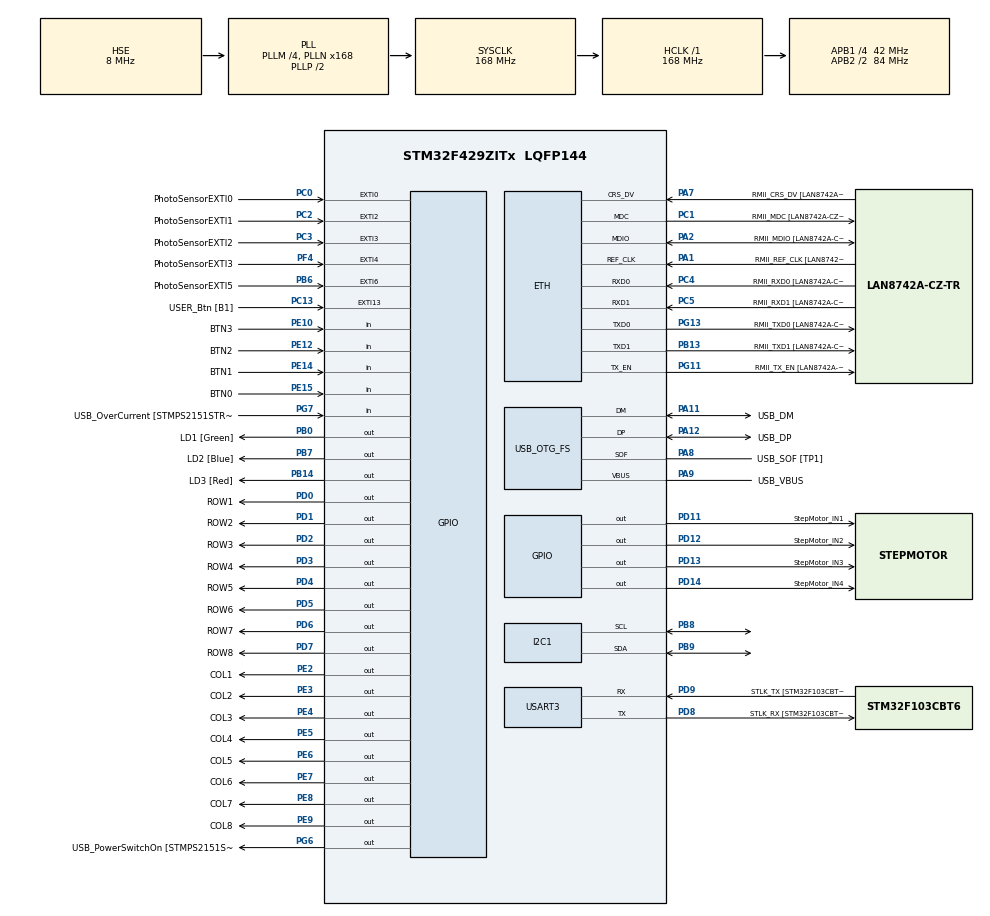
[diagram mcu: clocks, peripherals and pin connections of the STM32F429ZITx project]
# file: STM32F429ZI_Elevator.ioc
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ETH.MediaInterface=HAL_ETH_RMII_MODE
ETH.PHY_Name=LAN8742A_PHY_ADDRESS
ETH.PHY_Value=0
ETH.PhyAddress=0
Mcu.Family=STM32F4
Mcu.Name=STM32F429ZITx
Mcu.Package=LQFP144
NVIC.EXTI0_IRQn=true\:0\:0\:false\:false\:true\:true\:true\:true
NVIC.EXTI2_IRQn=true\:0\:0\:false\:false\:true\:true\:true\:true
NVIC.EXTI3_IRQn=true\:0\:0\:false\:false\:true\:true\:true\:true
NVIC.PriorityGroup=NVIC_PRIORITYGROUP_4
NVIC.TIM1_TRG_COM_TIM11_IRQn=true\:0\:0\:false\:false\:true\:true\:true\:true
PA1.GPIO_Label=RMII_REF_CLK [LAN8742A-CZ-TR_REFCLK0]
PA1.Mode=RMII
PA1.Signal=ETH_REF_CLK
PA10.GPIO_Label=USB_ID
PA10.Signal=USB_OTG_FS_ID
PA11.GPIO_Label=USB_DM
PA11.Mode=Device_Only
PA11.Signal=USB_OTG_FS_DM
PA12.GPIO_Label=USB_DP
PA12.Mode=Device_Only
PA12.Signal=USB_OTG_FS_DP
PA13.GPIO_Label=TMS
PA13.Mode=Serial_Wire
PA13.Signal=SYS_JTMS-SWDIO
PA14.GPIO_Label=TCK
PA14.Mode=Serial_Wire
PA14.Signal=SYS_JTCK-SWCLK
PA2.GPIO_Label=RMII_MDIO [LAN8742A-CZ-TR_MDIO]
PA2.Mode=RMII
PA2.Signal=ETH_MDIO
PA7.GPIO_Label=RMII_CRS_DV [LAN8742A-CZ-TR_CRS_DV]
PA7.Mode=RMII
PA7.Signal=ETH_CRS_DV
PA8.GPIO_Label=USB_SOF [TP1]
PA8.Mode=Activate_SOF_FS
PA8.Signal=USB_OTG_FS_SOF
PA9.GPIO_Label=USB_VBUS
PA9.Mode=Activate_VBUS
PA9.Signal=USB_OTG_FS_VBUS
PB0.GPIO_Label=LD1 [Green]
PB0.Signal=GPIO_Output
PB13.GPIO_Label=RMII_TXD1 [LAN8742A-CZ-TR_TXD1]
PB13.Mode=RMII
PB13.Signal=ETH_TXD1
PB14.GPIO_Label=LD3 [Red]
PB14.Signal=GPIO_Output
PB6.GPIO_Label=PhotoSensorEXTI5
PB6.Signal=GPXTI6
PB7.GPIO_Label=LD2 [Blue]
PB7.Signal=GPIO_Output
PB8.Mode=I2C
PB8.Signal=I2C1_SCL
PB9.Mode=I2C
PB9.Signal=I2C1_SDA
PC0.GPIO_Label=PhotoSensorEXTI0
PC0.Signal=GPXTI0
PC1.GPIO_Label=RMII_MDC [LAN8742A-CZ-TR_MDC]
PC1.Mode=RMII
PC1.Signal=ETH_MDC
PC13.GPIO_Label=USER_Btn [B1]
PC13.Signal=GPXTI13
PC14/OSC32_IN.Mode=LSE-External-Oscillator
PC14/OSC32_IN.Signal=RCC_OSC32_IN
PC15/OSC32_OUT.Mode=LSE-External-Oscillator
PC15/OSC32_OUT.Signal=RCC_OSC32_OUT
PC2.GPIO_Label=PhotoSensorEXTI1
PC2.Signal=GPXTI2
PC3.GPIO_Label=PhotoSensorEXTI2
PC3.Signal=GPXTI3
PC4.GPIO_Label=RMII_RXD0 [LAN8742A-CZ-TR_RXD0]
PC4.Mode=RMII
PC4.Signal=ETH_RXD0
PC5.GPIO_Label=RMII_RXD1 [LAN8742A-CZ-TR_RXD1]
PC5.Mode=RMII
PC5.Signal=ETH_RXD1
PD0.GPIO_Label=ROW1
PD0.Signal=GPIO_Output
PD1.GPIO_Label=ROW2
PD1.Signal=GPIO_Output
PD11.GPIO_Label=StepMotor_IN1
PD11.Signal=GPIO_Output
PD12.GPIO_Label=StepMotor_IN2
PD12.Signal=GPIO_Output
PD13.GPIO_Label=StepMotor_IN3
PD13.Signal=GPIO_Output
PD14.GPIO_Label=StepMotor_IN4
PD14.Signal=GPIO_Output
PD2.GPIO_Label=ROW3
PD2.Signal=GPIO_Output
PD3.GPIO_Label=ROW4
PD3.Signal=GPIO_Output
PD4.GPIO_Label=ROW5
PD4.Signal=GPIO_Output
PD5.GPIO_Label=ROW6
PD5.Signal=GPIO_Output
PD6.GPIO_Label=ROW7
PD6.Signal=GPIO_Output
PD7.GPIO_Label=ROW8
PD7.Signal=GPIO_Output
PD8.GPIO_Label=STLK_RX [STM32F103CBT6_PA3]
PD8.Mode=Asynchronous
PD8.Signal=USART3_TX
PD9.GPIO_Label=STLK_TX [STM32F103CBT6_PA2]
PD9.Mode=Asynchronous
PD9.Signal=USART3_RX
PE10.GPIO_Label=BTN3
PE10.Signal=GPIO_Input
PE12.GPIO_Label=BTN2
PE12.Signal=GPIO_Input
PE14.GPIO_Label=BTN1
PE14.Signal=GPIO_Input
PE15.GPIO_Label=BTN0
PE15.Signal=GPIO_Input
PE2.GPIO_Label=COL1
PE2.Signal=GPIO_Output
PE3.GPIO_Label=COL2
PE3.Signal=GPIO_Output
PE4.GPIO_Label=COL3
PE4.Signal=GPIO_Output
PE5.GPIO_Label=COL4
PE5.Signal=GPIO_Output
PE6.GPIO_Label=COL5
PE6.Signal=GPIO_Output
PE7.GPIO_Label=COL6
PE7.Signal=GPIO_Output
PE8.GPIO_Label=COL7
PE8.Signal=GPIO_Output
PE9.GPIO_Label=COL8
PE9.Signal=GPIO_Output
PF4.GPIO_Label=PhotoSensorEXTI3
PF4.Signal=GPXTI4
PG11.GPIO_Label=RMII_TX_EN [LAN8742A-CZ-TR_TXEN]
PG11.Mode=RMII
PG11.Signal=ETH_TX_EN
PG13.GPIO_Label=RMII_TXD0 [LAN8742A-CZ-TR_TXD0]
PG13.Mode=RMII
PG13.Signal=ETH_TXD0
PG6.GPIO_Label=USB_PowerSwitchOn [STMPS2151STR_EN]
PG6.Signal=GPIO_Output
PG7.GPIO_Label=USB_OverCurrent [STMPS2151STR_FAULT]
PG7.Signal=GPIO_Input
PH0/OSC_IN.GPIO_Label=MCO [STM32F103CBT6_PA8]
PH0/OSC_IN.Mode=HSE-External-Clock-Source
PH0/OSC_IN.Signal=RCC_OSC_IN
PH1/OSC_OUT.Mode=HSE-External-Clock-Source
PH1/OSC_OUT.Signal=RCC_OSC_OUT
ProjectManager.HeapSize=0x200
ProjectManager.StackSize=0x400
ProjectManager.TargetToolchain=STM32CubeIDE
RCC.48MHZClocksFreq_Value=48000000
RCC.AHBFreq_Value=168000000
RCC.APB1CLKDivider=RCC_HCLK_DIV4
RCC.APB1Freq_Value=42000000
RCC.APB1TimFreq_Value=84000000
RCC.APB2CLKDivider=RCC_HCLK_DIV2
RCC.APB2Freq_Value=84000000
RCC.APB2TimCLKDivider=2
RCC.APB2TimFreq_Value=168000000
RCC.CortexFreq_Value=168000000
RCC.HCLKFreq_Value=168000000
RCC.HSE_VALUE=8000000
RCC.HSI_VALUE=16000000
RCC.PLLM=4
RCC.PLLMUL=RCC_PLL_MUL9
RCC.PLLN=168
RCC.PLLQ=7
RCC.PRESCALERUSB=RCC_USBCLKSOURCE_PLL_DIV1_5
RCC.SYSCLKFreq_VALUE=168000000
RCC.SYSCLKSource=RCC_SYSCLKSOURCE_PLLCLK
RCC.SYSCLKSourceVirtual=RCC_SYSCLKSOURCE_PLLCLK
RCC.USBFreq_Value=48000000
RCC.VCOOutputFreq_Value=336000000
TIM11.Prescaler=168-1
USART3.VirtualMode=VM_ASYNC
USB_OTG_FS.VirtualMode=Device_Only
VP_TIM11_VS_ClockSourceINT.Mode=Enable_Timer
board=NUCLEO-F429ZI

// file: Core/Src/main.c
/* USER CODE BEGIN Header */
/**
  ******************************************************************************
  * @file           : main.c
  * @brief          : Main program body
  ******************************************************************************
  * @attention
  *
  * Copyright (c) 2024 STMicroelectronics.
  * All rights reserved.
  *
  * This software is licensed under terms that can be found in the LICENSE file
  * in the root directory of this software component.
  * If no LICENSE file comes with this software, it is provided AS-IS.
  *
  ******************************************************************************
  */
/* USER CODE END Header */
#include "main.h"
#include "string.h"

/* USER CODE BEGIN Includes */
#include "led.h"
#include "button.h"
#include "i2c_lcd.h"
#include "stepmotor.h"
#include "gpio_callback_management.h"

/* USER CODE END Includes */

ETH_TxPacketConfig TxConfig;
ETH_DMADescTypeDef  DMARxDscrTab[ETH_RX_DESC_CNT]; /* Ethernet Rx DMA Descriptors */
ETH_DMADescTypeDef  DMATxDscrTab[ETH_TX_DESC_CNT]; /* Ethernet Tx DMA Descriptors */

ETH_HandleTypeDef heth;

I2C_HandleTypeDef hi2c1;

TIM_HandleTypeDef htim11;

UART_HandleTypeDef huart3;

PCD_HandleTypeDef hpcd_USB_OTG_FS;

void SystemClock_Config(void);
static void MX_GPIO_Init(void);
static void MX_USART3_UART_Init(void);
static void MX_USB_OTG_FS_PCD_Init(void);
static void MX_TIM11_Init(void);
static void MX_I2C1_Init(void);
static void MX_ETH_Init(void);
/* USER CODE BEGIN PFP */
extern void led_main(void);
extern void i2c_lcd_init(void);
extern void i2c_lcd_main(void);
extern void lcd_command(uint8_t command);
extern void lcd_string(uint8_t *str);
extern void stepmotor_main_test(void);
/* USER CODE END PFP */

int main(void)
{

  /* MCU Configuration--------------------------------------------------------*/

  /* Reset of all peripherals, Initializes the Flash interface and the Systick. */
  HAL_Init();

  /* Configure the system clock */
  SystemClock_Config();

  /* Initialize all configured peripherals */
  MX_GPIO_Init();
  MX_USART3_UART_Init();
  MX_USB_OTG_FS_PCD_Init();
  MX_TIM11_Init();
  MX_I2C1_Init();
  MX_ETH_Init();
  /* USER CODE BEGIN 2 */

  HAL_TIM_Base_Start_IT(&htim11);  // custom timer for "delay_us()"
  i2c_lcd_init();

//  stepmotor_main_test(); // kenGwon test stepmotor1
//  do_demo(); // kenGwon test stepmotor2

//  led_main();
//  i2c_lcd_main();
  static char state = 0;	   // current state
  static int sel_floor = 1;
  static int cur_floor = 1;
  static int diff = 0;
  /* USER CODE END 2 */

  /* Infinite loop */
  /* USER CODE BEGIN WHILE */
  while (1)
  {
	  // LCD Display
	  // Show "<< FLOOR_NUMBER >>" on I2C LCD display and switch between floors when Button 3 and 2 are pressed
	  // Show "Floor X selected" when button 1 is pressed
	  // Show "Floor selection cancelled" when button 0 is pressed

	  // BTN3 BTN2 BTN1 BTN0 : left-to-right
      // Button 3 and 2 to switch between floor numbers (3=previous, 2=next)
	  // Button 1 to select floor and start moving
	  // Button 0 to cancel and stop at next floor

	  // Step motor and elevator
	  // When elevator starts moving, keep moving until photo interrupter for specific floor is triggered
	  // When floor selection is cancelled with button 0, stop when next photo interrupter is triggered

	  switch(state)
	  {
	  case 0: // IDLE state / DO NOTHING
		  lcd_command(CLEAR_DISPLAY);
		  HAL_Delay(10);
		  move_cursor(0,0);
		  lcd_string((uint8_t*) "Welcome!!");
		  // If any BTN is pressed, change to state == 1
		  if((get_button(BTN0_GPIO_Port, BTN0_Pin, 0) == BUTTON_PRESS) ||
				  (get_button(BTN1_GPIO_Port, BTN1_Pin, 1) == BUTTON_PRESS) ||
				  (get_button(BTN2_GPIO_Port, BTN2_Pin, 2) == BUTTON_PRESS) ||
				  (get_button(BTN3_GPIO_Port, BTN3_Pin, 3) == BUTTON_PRESS))
		  {
			  lcd_command(CLEAR_DISPLAY);
			  sel_floor = cur_floor;
			  state = 1;
			  HAL_Delay(100);
		  }
		  break;
	  case 1: // FLOOR SELECTION state
		  // Display user interface
		  move_cursor(0,0);
		  lcd_string((uint8_t*) "<< Select >>");
		  move_cursor(1,0);
		  lcd_string((uint8_t*) "Currently...");

		  // Switch between floors when Button 3 and 2 are pressed (BTN3 for previous, BTN2 for next)
		  if(get_button(BTN3_GPIO_Port, BTN3_Pin, 3) == BUTTON_PRESS)
		  {
			  if(1 < sel_floor)
			  {
				  sel_floor--;
			  }
		  }
		  else if (get_button(BTN2_GPIO_Port, BTN2_Pin, 2) == BUTTON_PRESS)
		  {
			  if(sel_floor < 5)
			  {
				  sel_floor++;
			  }
		  }

		  // Display "Floor X selected" when button 1 is pressed and start elevator
		  if(get_button(BTN1_GPIO_Port, BTN1_Pin, 1) == BUTTON_PRESS)
		  {
			  if(sel_floor == cur_floor)
			  {
				  move_cursor(1,0);
				  lcd_string((uint8_t*) "Same floor");
				  HAL_Delay(100);
			  }
			  else
			  {
				  lcd_command(CLEAR_DISPLAY);
				  move_cursor(0,0);
				  lcd_string((uint8_t*) "Floor selected :");
				  move_cursor(1,0);
				  lcd_string((uint8_t*) sel_floor);
				  state = 2;
				  HAL_Delay(100);
			  }
		  }
		  break;
	  case 2: // ELEVATOR MOVE state
		  // Show "Floor selection cancelled" when button 0 is pressed
		  if(get_button(BTN0_GPIO_Port, BTN0_Pin, 0) == BUTTON_PRESS)
		  {
			  lcd_command(CLEAR_DISPLAY);
			  move_cursor(0,0);
			  lcd_string((uint8_t*) "Floor selection");
			  move_cursor(1,0);
			  lcd_string((uint8_t*) "cancelled.");
			  state = 3;
			  HAL_Delay(100);
		  }

		  diff = sel_floor - cur_floor - '0';
		  if(diff > 0)
		  {
			  for (int step = 0; step < 8; step++)
			  {
				  stepmotor_drive(step);
				  set_RPM(13);
			  }
		  }
		  else if (diff < 0)
		  {
			  for (int step = 7; step >= 0; step--)
			  {
				  stepmotor_drive(step);
				  set_RPM(13);
			  }
		  }
		  else // if diff == 0
		  {
			  lcd_command(CLEAR_DISPLAY);
			  move_cursor(0,0);
			  lcd_string((uint8_t*) "Elevator arrived.");
			  state = 0;
			  HAL_Delay(100);
		  }
		  break;
	  case 3: // CANCEL ELEVATOR state
		  cur_floor = cur_floor + diff;
		  sel_floor = cur_floor;
		  state = 2;
		  HAL_Delay(100);
		  break;
	  default:
		  break;
	  }

	  HAL_Delay(100);

    /* USER CODE END WHILE */

  }
}

void SystemClock_Config(void)
{
  RCC_OscInitTypeDef RCC_OscInitStruct = {0};
  RCC_ClkInitTypeDef RCC_ClkInitStruct = {0};

  /** Configure the main internal regulator output voltage
  */
  __HAL_RCC_PWR_CLK_ENABLE();
  __HAL_PWR_VOLTAGESCALING_CONFIG(PWR_REGULATOR_VOLTAGE_SCALE1);

  /** Initializes the RCC Oscillators according to the specified parameters
  * in the RCC_OscInitTypeDef structure.
  */
  RCC_OscInitStruct.OscillatorType = RCC_OSCILLATORTYPE_HSE;
  RCC_OscInitStruct.HSEState = RCC_HSE_BYPASS;
  RCC_OscInitStruct.PLL.PLLState = RCC_PLL_ON;
  RCC_OscInitStruct.PLL.PLLSource = RCC_PLLSOURCE_HSE;
  RCC_OscInitStruct.PLL.PLLM = 4;
  RCC_OscInitStruct.PLL.PLLN = 168;
  RCC_OscInitStruct.PLL.PLLP = RCC_PLLP_DIV2;
  RCC_OscInitStruct.PLL.PLLQ = 7;
  if (HAL_RCC_OscConfig(&RCC_OscInitStruct) != HAL_OK)
  {
    Error_Handler();
  }

  /** Initializes the CPU, AHB and APB buses clocks
  */
  RCC_ClkInitStruct.ClockType = RCC_CLOCKTYPE_HCLK|RCC_CLOCKTYPE_SYSCLK
                              |RCC_CLOCKTYPE_PCLK1|RCC_CLOCKTYPE_PCLK2;
  RCC_ClkInitStruct.SYSCLKSource = RCC_SYSCLKSOURCE_PLLCLK;
  RCC_ClkInitStruct.AHBCLKDivider = RCC_SYSCLK_DIV1;
  RCC_ClkInitStruct.APB1CLKDivider = RCC_HCLK_DIV4;
  RCC_ClkInitStruct.APB2CLKDivider = RCC_HCLK_DIV2;

  if (HAL_RCC_ClockConfig(&RCC_ClkInitStruct, FLASH_LATENCY_5) != HAL_OK)
  {
    Error_Handler();
  }
}

static void MX_ETH_Init(void)
{

   static uint8_t MACAddr[6];

  heth.Instance = ETH;
  MACAddr[0] = 0x00;
  MACAddr[1] = 0x80;
  MACAddr[2] = 0xE1;
  MACAddr[3] = 0x00;
  MACAddr[4] = 0x00;
  MACAddr[5] = 0x00;
  heth.Init.MACAddr = &MACAddr[0];
  heth.Init.MediaInterface = HAL_ETH_RMII_MODE;
  heth.Init.TxDesc = DMATxDscrTab;
  heth.Init.RxDesc = DMARxDscrTab;
  heth.Init.RxBuffLen = 1524;

  if (HAL_ETH_Init(&heth) != HAL_OK)
  {
    Error_Handler();
  }

  memset(&TxConfig, 0 , sizeof(ETH_TxPacketConfig));
  TxConfig.Attributes = ETH_TX_PACKETS_FEATURES_CSUM | ETH_TX_PACKETS_FEATURES_CRCPAD;
  TxConfig.ChecksumCtrl = ETH_CHECKSUM_IPHDR_PAYLOAD_INSERT_PHDR_CALC;
  TxConfig.CRCPadCtrl = ETH_CRC_PAD_INSERT;

}

static void MX_I2C1_Init(void)
{

  hi2c1.Instance = I2C1;
  hi2c1.Init.ClockSpeed = 100000;
  hi2c1.Init.DutyCycle = I2C_DUTYCYCLE_2;
  hi2c1.Init.OwnAddress1 = 0;
  hi2c1.Init.AddressingMode = I2C_ADDRESSINGMODE_7BIT;
  hi2c1.Init.DualAddressMode = I2C_DUALADDRESS_DISABLE;
  hi2c1.Init.OwnAddress2 = 0;
  hi2c1.Init.GeneralCallMode = I2C_GENERALCALL_DISABLE;
  hi2c1.Init.NoStretchMode = I2C_NOSTRETCH_DISABLE;
  if (HAL_I2C_Init(&hi2c1) != HAL_OK)
  {
    Error_Handler();
  }

  /** Configure Analogue filter
  */
  if (HAL_I2CEx_ConfigAnalogFilter(&hi2c1, I2C_ANALOGFILTER_ENABLE) != HAL_OK)
  {
    Error_Handler();
  }

  /** Configure Digital filter
  */
  if (HAL_I2CEx_ConfigDigitalFilter(&hi2c1, 0) != HAL_OK)
  {
    Error_Handler();
  }

}

static void MX_TIM11_Init(void)
{

  htim11.Instance = TIM11;
  htim11.Init.Prescaler = 168-1;
  htim11.Init.CounterMode = TIM_COUNTERMODE_UP;
  htim11.Init.Period = 65535;
  htim11.Init.ClockDivision = TIM_CLOCKDIVISION_DIV1;
  htim11.Init.AutoReloadPreload = TIM_AUTORELOAD_PRELOAD_DISABLE;
  if (HAL_TIM_Base_Init(&htim11) != HAL_OK)
  {
    Error_Handler();
  }

}

static void MX_USART3_UART_Init(void)
{

  huart3.Instance = USART3;
  huart3.Init.BaudRate = 115200;
  huart3.Init.WordLength = UART_WORDLENGTH_8B;
  huart3.Init.StopBits = UART_STOPBITS_1;
  huart3.Init.Parity = UART_PARITY_NONE;
  huart3.Init.Mode = UART_MODE_TX_RX;
  huart3.Init.HwFlowCtl = UART_HWCONTROL_NONE;
  huart3.Init.OverSampling = UART_OVERSAMPLING_16;
  if (HAL_UART_Init(&huart3) != HAL_OK)
  {
    Error_Handler();
  }

}

static void MX_USB_OTG_FS_PCD_Init(void)
{

  hpcd_USB_OTG_FS.Instance = USB_OTG_FS;
  hpcd_USB_OTG_FS.Init.dev_endpoints = 4;
  hpcd_USB_OTG_FS.Init.speed = PCD_SPEED_FULL;
  hpcd_USB_OTG_FS.Init.dma_enable = DISABLE;
  hpcd_USB_OTG_FS.Init.phy_itface = PCD_PHY_EMBEDDED;
  hpcd_USB_OTG_FS.Init.Sof_enable = ENABLE;
  hpcd_USB_OTG_FS.Init.low_power_enable = DISABLE;
  hpcd_USB_OTG_FS.Init.lpm_enable = DISABLE;
  hpcd_USB_OTG_FS.Init.vbus_sensing_enable = ENABLE;
  hpcd_USB_OTG_FS.Init.use_dedicated_ep1 = DISABLE;
  if (HAL_PCD_Init(&hpcd_USB_OTG_FS) != HAL_OK)
  {
    Error_Handler();
  }

}

static void MX_GPIO_Init(void)
{
  GPIO_InitTypeDef GPIO_InitStruct = {0};

  /* GPIO Ports Clock Enable */
  __HAL_RCC_GPIOE_CLK_ENABLE();
  __HAL_RCC_GPIOC_CLK_ENABLE();
  __HAL_RCC_GPIOF_CLK_ENABLE();
  __HAL_RCC_GPIOH_CLK_ENABLE();
  __HAL_RCC_GPIOA_CLK_ENABLE();
  __HAL_RCC_GPIOB_CLK_ENABLE();
  __HAL_RCC_GPIOD_CLK_ENABLE();
  __HAL_RCC_GPIOG_CLK_ENABLE();

  /*Configure GPIO pin Output Level */
  HAL_GPIO_WritePin(GPIOE, COL1_Pin|COL2_Pin|COL3_Pin|COL4_Pin
                          |COL5_Pin|COL6_Pin|COL7_Pin|COL8_Pin, GPIO_PIN_RESET);

  /*Configure GPIO pin Output Level */
  HAL_GPIO_WritePin(GPIOB, LD1_Pin|LD3_Pin|LD2_Pin, GPIO_PIN_RESET);

  /*Configure GPIO pin Output Level */
  HAL_GPIO_WritePin(GPIOD, StepMotor_IN1_Pin|StepMotor_IN2_Pin|StepMotor_IN3_Pin|StepMotor_IN4_Pin
                          |ROW1_Pin|ROW2_Pin|ROW3_Pin|ROW4_Pin
                          |ROW5_Pin|ROW6_Pin|ROW7_Pin|ROW8_Pin, GPIO_PIN_RESET);

  /*Configure GPIO pin Output Level */
  HAL_GPIO_WritePin(USB_PowerSwitchOn_GPIO_Port, USB_PowerSwitchOn_Pin, GPIO_PIN_RESET);

  /*Configure GPIO pins : COL1_Pin COL2_Pin COL3_Pin COL4_Pin
                           COL5_Pin COL6_Pin COL7_Pin COL8_Pin */
  GPIO_InitStruct.Pin = COL1_Pin|COL2_Pin|COL3_Pin|COL4_Pin
                          |COL5_Pin|COL6_Pin|COL7_Pin|COL8_Pin;
  GPIO_InitStruct.Mode = GPIO_MODE_OUTPUT_PP;
  GPIO_InitStruct.Pull = GPIO_NOPULL;
  GPIO_InitStruct.Speed = GPIO_SPEED_FREQ_LOW;
  HAL_GPIO_Init(GPIOE, &GPIO_InitStruct);

  /*Configure GPIO pins : USER_Btn_Pin PhotoSensorEXTI0_Pin PhotoSensorEXTI1_Pin PhotoSensorEXTI2_Pin */
  GPIO_InitStruct.Pin = USER_Btn_Pin|PhotoSensorEXTI0_Pin|PhotoSensorEXTI1_Pin|PhotoSensorEXTI2_Pin;
  GPIO_InitStruct.Mode = GPIO_MODE_IT_RISING;
  GPIO_InitStruct.Pull = GPIO_NOPULL;
  HAL_GPIO_Init(GPIOC, &GPIO_InitStruct);

  /*Configure GPIO pin : PhotoSensorEXTI3_Pin */
  GPIO_InitStruct.Pin = PhotoSensorEXTI3_Pin;
  GPIO_InitStruct.Mode = GPIO_MODE_IT_RISING;
  GPIO_InitStruct.Pull = GPIO_NOPULL;
  HAL_GPIO_Init(PhotoSensorEXTI3_GPIO_Port, &GPIO_InitStruct);

  /*Configure GPIO pins : LD1_Pin LD3_Pin LD2_Pin */
  GPIO_InitStruct.Pin = LD1_Pin|LD3_Pin|LD2_Pin;
  GPIO_InitStruct.Mode = GPIO_MODE_OUTPUT_PP;
  GPIO_InitStruct.Pull = GPIO_NOPULL;
  GPIO_InitStruct.Speed = GPIO_SPEED_FREQ_LOW;
  HAL_GPIO_Init(GPIOB, &GPIO_InitStruct);

  /*Configure GPIO pins : BTN3_Pin BTN2_Pin BTN1_Pin BTN0_Pin */
  GPIO_InitStruct.Pin = BTN3_Pin|BTN2_Pin|BTN1_Pin|BTN0_Pin;
  GPIO_InitStruct.Mode = GPIO_MODE_INPUT;
  GPIO_InitStruct.Pull = GPIO_NOPULL;
  HAL_GPIO_Init(GPIOE, &GPIO_InitStruct);

  /*Configure GPIO pins : StepMotor_IN1_Pin StepMotor_IN2_Pin StepMotor_IN3_Pin StepMotor_IN4_Pin
                           ROW1_Pin ROW2_Pin ROW3_Pin ROW4_Pin
                           ROW5_Pin ROW6_Pin ROW7_Pin ROW8_Pin */
  GPIO_InitStruct.Pin = StepMotor_IN1_Pin|StepMotor_IN2_Pin|StepMotor_IN3_Pin|StepMotor_IN4_Pin
                          |ROW1_Pin|ROW2_Pin|ROW3_Pin|ROW4_Pin
                          |ROW5_Pin|ROW6_Pin|ROW7_Pin|ROW8_Pin;
  GPIO_InitStruct.Mode = GPIO_MODE_OUTPUT_PP;
  GPIO_InitStruct.Pull = GPIO_NOPULL;
  GPIO_InitStruct.Speed = GPIO_SPEED_FREQ_LOW;
  HAL_GPIO_Init(GPIOD, &GPIO_InitStruct);

  /*Configure GPIO pin : USB_PowerSwitchOn_Pin */
  GPIO_InitStruct.Pin = USB_PowerSwitchOn_Pin;
  GPIO_InitStruct.Mode = GPIO_MODE_OUTPUT_PP;
  GPIO_InitStruct.Pull = GPIO_NOPULL;
  GPIO_InitStruct.Speed = GPIO_SPEED_FREQ_LOW;
  HAL_GPIO_Init(USB_PowerSwitchOn_GPIO_Port, &GPIO_InitStruct);

  /*Configure GPIO pin : USB_OverCurrent_Pin */
  GPIO_InitStruct.Pin = USB_OverCurrent_Pin;
  GPIO_InitStruct.Mode = GPIO_MODE_INPUT;
  GPIO_InitStruct.Pull = GPIO_NOPULL;
  HAL_GPIO_Init(USB_OverCurrent_GPIO_Port, &GPIO_InitStruct);

  /*Configure GPIO pin : PhotoSensorEXTI5_Pin */
  GPIO_InitStruct.Pin = PhotoSensorEXTI5_Pin;
  GPIO_InitStruct.Mode = GPIO_MODE_IT_RISING;
  GPIO_InitStruct.Pull = GPIO_NOPULL;
  HAL_GPIO_Init(PhotoSensorEXTI5_GPIO_Port, &GPIO_InitStruct);

  /* EXTI interrupt init*/
  HAL_NVIC_SetPriority(EXTI0_IRQn, 0, 0);
  HAL_NVIC_EnableIRQ(EXTI0_IRQn);

  HAL_NVIC_SetPriority(EXTI2_IRQn, 0, 0);
  HAL_NVIC_EnableIRQ(EXTI2_IRQn);

  HAL_NVIC_SetPriority(EXTI3_IRQn, 0, 0);
  HAL_NVIC_EnableIRQ(EXTI3_IRQn);

}

void Error_Handler(void)
{
  __disable_irq();
  while (1)
  {
  }
}
